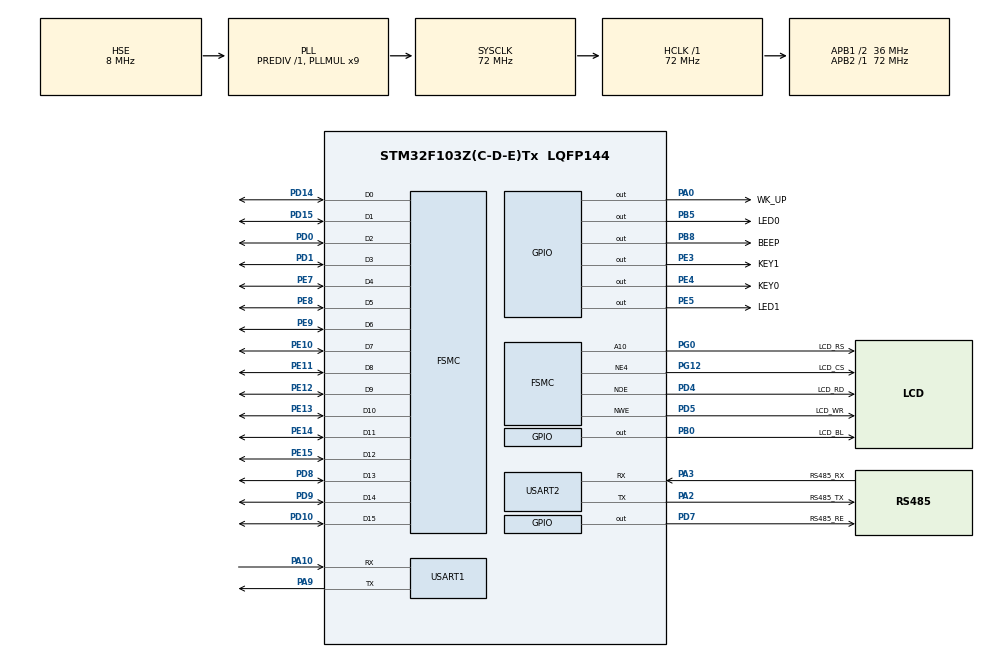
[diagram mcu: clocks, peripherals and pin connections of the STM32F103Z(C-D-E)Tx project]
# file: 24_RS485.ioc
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FSMC.AddressSetupTime1=0
FSMC.BusTurnAroundDuration1=15
FSMC.DataSetupTime1=15
FSMC.ExtendedAddressSetupTime1=0
FSMC.ExtendedDataSetupTime1=1
FSMC.ExtendedMode1=FSMC_EXTENDED_MODE_ENABLE
Mcu.Family=STM32F1
Mcu.Name=STM32F103Z(C-D-E)Tx
Mcu.Package=LQFP144
NVIC.PriorityGroup=NVIC_PRIORITYGROUP_2
NVIC.USART1_IRQn=true\:2\:2\:true\:false\:true\:true\:true\:true
NVIC.USART2_IRQn=true\:2\:1\:true\:false\:true\:true\:true\:true
OSC_IN.Mode=HSE-External-Oscillator
OSC_IN.Signal=RCC_OSC_IN
OSC_OUT.Mode=HSE-External-Oscillator
OSC_OUT.Signal=RCC_OSC_OUT
PA0-WKUP.GPIO_Label=WK_UP
PA0-WKUP.GPIO_PuPd=GPIO_PULLDOWN
PA0-WKUP.GPIO_Speed=GPIO_SPEED_FREQ_HIGH
PA0-WKUP.PinState=GPIO_PIN_RESET
PA0-WKUP.Signal=GPIO_Output
PA10.Mode=Asynchronous
PA10.Signal=USART1_RX
PA13.Mode=Serial_Wire
PA13.Signal=SYS_JTMS-SWDIO
PA14.Mode=Serial_Wire
PA14.Signal=SYS_JTCK-SWCLK
PA2.GPIO_Label=RS485_TX
PA2.Mode=Asynchronous
PA2.Signal=USART2_TX
PA3.GPIO_Label=RS485_RX
PA3.Mode=Asynchronous
PA3.Signal=USART2_RX
PA9.Mode=Asynchronous
PA9.Signal=USART1_TX
PB0.GPIO_Label=LCD_BL
PB0.GPIO_PuPd=GPIO_PULLUP
PB0.GPIO_Speed=GPIO_SPEED_FREQ_HIGH
PB0.PinState=GPIO_PIN_SET
PB0.Signal=GPIO_Output
PB5.GPIO_Label=LED0
PB5.GPIO_PuPd=GPIO_PULLUP
PB5.GPIO_Speed=GPIO_SPEED_FREQ_HIGH
PB5.PinState=GPIO_PIN_SET
PB5.Signal=GPIO_Output
PB8.GPIO_Label=BEEP
PB8.GPIO_ModeDefaultOutputPP=GPIO_MODE_OUTPUT_PP
PB8.GPIO_PuPd=GPIO_PULLDOWN
PB8.GPIO_Speed=GPIO_SPEED_FREQ_HIGH
PB8.PinState=GPIO_PIN_RESET
PB8.Signal=GPIO_Output
PC14-OSC32_IN.Mode=LSE-External-Oscillator
PC14-OSC32_IN.Signal=RCC_OSC32_IN
PC15-OSC32_OUT.Mode=LSE-External-Oscillator
PC15-OSC32_OUT.Signal=RCC_OSC32_OUT
PD0.Signal=FSMC_D2_DA2
PD1.Signal=FSMC_D3_DA3
PD10.Signal=FSMC_D15_DA15
PD14.Signal=FSMC_D0_DA0
PD15.Signal=FSMC_D1_DA1
PD4.GPIO_Label=LCD_RD
PD4.Signal=FSMC_NOE
PD5.GPIO_Label=LCD_WR
PD5.Signal=FSMC_NWE
PD7.GPIO_Label=RS485_RE
PD7.GPIO_PuPd=GPIO_PULLUP
PD7.GPIO_Speed=GPIO_SPEED_FREQ_HIGH
PD7.PinState=GPIO_PIN_SET
PD7.Signal=GPIO_Output
PD8.Signal=FSMC_D13_DA13
PD9.Signal=FSMC_D14_DA14
PE10.Signal=FSMC_D7_DA7
PE11.Signal=FSMC_D8_DA8
PE12.Signal=FSMC_D9_DA9
PE13.Signal=FSMC_D10_DA10
PE14.Signal=FSMC_D11_DA11
PE15.Signal=FSMC_D12_DA12
PE3.GPIO_Label=KEY1
PE3.GPIO_PuPd=GPIO_PULLUP
PE3.GPIO_Speed=GPIO_SPEED_FREQ_HIGH
PE3.PinState=GPIO_PIN_SET
PE3.Signal=GPIO_Output
PE4.GPIO_Label=KEY0
PE4.GPIO_PuPd=GPIO_PULLUP
PE4.GPIO_Speed=GPIO_SPEED_FREQ_HIGH
PE4.PinState=GPIO_PIN_SET
PE4.Signal=GPIO_Output
PE5.GPIO_Label=LED1
PE5.GPIO_PuPd=GPIO_PULLUP
PE5.GPIO_Speed=GPIO_SPEED_FREQ_HIGH
PE5.PinState=GPIO_PIN_SET
PE5.Signal=GPIO_Output
PE7.Signal=FSMC_D4_DA4
PE8.Signal=FSMC_D5_DA5
PE9.Signal=FSMC_D6_DA6
PG0.GPIO_Label=LCD_RS
PG0.Signal=FSMC_A10
PG12.GPIO_Label=LCD_CS
PG12.Mode=NorPsramChipSelect4_1
PG12.Signal=FSMC_NE4
ProjectManager.HeapSize=0x200
ProjectManager.StackSize=0x400
ProjectManager.TargetToolchain=STM32CubeIDE
RCC.AHBFreq_Value=72000000
RCC.APB1CLKDivider=RCC_HCLK_DIV2
RCC.APB1Freq_Value=36000000
RCC.APB1TimFreq_Value=72000000
RCC.APB2Freq_Value=72000000
RCC.APB2TimFreq_Value=72000000
RCC.HCLKFreq_Value=72000000
RCC.PLLMUL=RCC_PLL_MUL9
RCC.PLLSourceVirtual=RCC_PLLSOURCE_HSE
RCC.SYSCLKFreq_VALUE=72000000
RCC.SYSCLKSource=RCC_SYSCLKSOURCE_PLLCLK
RCC.USBFreq_Value=72000000
SH.FSMC_A10.0=FSMC_A10,A10_1
SH.FSMC_D0_DA0.0=FSMC_D0,16b-d1
SH.FSMC_D10_DA10.0=FSMC_D10,16b-d1
SH.FSMC_D11_DA11.0=FSMC_D11,16b-d1
SH.FSMC_D12_DA12.0=FSMC_D12,16b-d1
SH.FSMC_D13_DA13.0=FSMC_D13,16b-d1
SH.FSMC_D14_DA14.0=FSMC_D14,16b-d1
SH.FSMC_D15_DA15.0=FSMC_D15,16b-d1
SH.FSMC_D1_DA1.0=FSMC_D1,16b-d1
SH.FSMC_D2_DA2.0=FSMC_D2,16b-d1
SH.FSMC_D3_DA3.0=FSMC_D3,16b-d1
SH.FSMC_D4_DA4.0=FSMC_D4,16b-d1
SH.FSMC_D5_DA5.0=FSMC_D5,16b-d1
SH.FSMC_D6_DA6.0=FSMC_D6,16b-d1
SH.FSMC_D7_DA7.0=FSMC_D7,16b-d1
SH.FSMC_D8_DA8.0=FSMC_D8,16b-d1
SH.FSMC_D9_DA9.0=FSMC_D9,16b-d1
SH.FSMC_NOE.0=FSMC_NOE,Lcd1
SH.FSMC_NWE.0=FSMC_NWE,Lcd1
USART1.VirtualMode=VM_ASYNC
USART2.VirtualMode=VM_ASYNC
board=custom

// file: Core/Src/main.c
/* USER CODE BEGIN Header */

/* USER CODE END Header */
#include "main.h"
#include "usart.h"
#include "gpio.h"
#include "fsmc.h"

/* USER CODE BEGIN Includes */
#include "../../BSP/LED/led.h"
#include "../../BSP/KEY/key.h"
#include "../../BSP/LCD/lcd.h"
#include "../../BSP/RS485/rs485.h"
#include "../../SYSTEM/delay/delay.h"
/* USER CODE END Includes */

void SystemClock_Config(void);

int main(void)
{
  /* USER CODE BEGIN 1 */
    uint8_t key;
    uint8_t i = 0, t = 0;
    uint8_t cnt = 0;
    uint8_t rs485buf[5];
  /* USER CODE END 1 */

  /* MCU Configuration--------------------------------------------------------*/

  /* Reset of all peripherals, Initializes the Flash interface and the Systick. */
  HAL_Init();

  /* Configure the system clock */
  SystemClock_Config();

  /* USER CODE BEGIN SysInit */
  delay_init(72);						   /* 初始化延时函数 */
  /* USER CODE END SysInit */

  /* Initialize all configured peripherals */
  MX_GPIO_Init();
  MX_FSMC_Init();
  MX_USART1_UART_Init();
  MX_USART2_UART_Init();
  /* USER CODE BEGIN 2 */
  lcd_init();                                         			/* 初始化LCD */
  rs485_init(9600);
  lcd_show_string(30,  50, 200, 16, 16, "STM32", RED);
  lcd_show_string(30,  70, 200, 16, 16, "RS485 TEST", RED);
  lcd_show_string(30,  90, 200, 16, 16, "ATOM@ALIENTEK", RED);
  lcd_show_string(30, 110, 200, 16, 16, "KEY0:Send", RED);    	/* 显示提示信息 */

  lcd_show_string(30, 130, 200, 16, 16, "Count:", RED);       	/* 显示当前计数值 */
  lcd_show_string(30, 150, 200, 16, 16, "Send Data:", RED);   	/* 提示发送的数据 */
  lcd_show_string(30, 190, 200, 16, 16, "Receive Data:", RED);	/* 提示接收到的数据 */

  /* USER CODE END 2 */

  /* Infinite loop */
  /* USER CODE BEGIN WHILE */
  while (1)
  {
	  key = key_scan(0);

	  if (key == KEY0_PRES)   /* KEY0按下,发送一次数据 */
	  {
		  for (i = 0; i < 5; i++)
		  {
			  rs485buf[i] = cnt + i;      /* 填充发送缓冲区 */
			  lcd_show_xnum(30 + i * 32, 170, rs485buf[i], 3, 16, 0X80, BLUE);    /* 显示数据 */
		  }

		  rs485_send_data(rs485buf, 5);   /* 发送5个字节 */
	  }

	  rs485_receive_data(rs485buf, &key);

	  if (key)    /* 接收到有数据 */
	  {
		  if (key > 5)key = 5;    /* 最大是5个数据. */

		  for (i = 0; i < key; i++)
		  {
			  lcd_show_xnum(30 + i * 32, 210, rs485buf[i], 3, 16, 0X80, BLUE);    /* 显示数据 */
		  }
	  }

	  t++;
	  delay_ms(10);

	  if (t == 20)
	  {
		  LED0_TOGGLE();  /* LED0闪烁, 提示系统正在运行 */
		  t = 0;
		  cnt++;
		  lcd_show_xnum(30 + 48, 130, cnt, 3, 16, 0X80, BLUE);    /* 显示数据 */
	  }

    /* USER CODE END WHILE */

  }
}

void SystemClock_Config(void)
{
  RCC_OscInitTypeDef RCC_OscInitStruct = {0};
  RCC_ClkInitTypeDef RCC_ClkInitStruct = {0};

  /** Initializes the RCC Oscillators according to the specified parameters
  * in the RCC_OscInitTypeDef structure.
  */
  RCC_OscInitStruct.OscillatorType = RCC_OSCILLATORTYPE_HSE;
  RCC_OscInitStruct.HSEState = RCC_HSE_ON;
  RCC_OscInitStruct.HSEPredivValue = RCC_HSE_PREDIV_DIV1;
  RCC_OscInitStruct.HSIState = RCC_HSI_ON;
  RCC_OscInitStruct.PLL.PLLState = RCC_PLL_ON;
  RCC_OscInitStruct.PLL.PLLSource = RCC_PLLSOURCE_HSE;
  RCC_OscInitStruct.PLL.PLLMUL = RCC_PLL_MUL9;
  if (HAL_RCC_OscConfig(&RCC_OscInitStruct) != HAL_OK)
  {
    Error_Handler();
  }

  /** Initializes the CPU, AHB and APB buses clocks
  */
  RCC_ClkInitStruct.ClockType = RCC_CLOCKTYPE_HCLK|RCC_CLOCKTYPE_SYSCLK
                              |RCC_CLOCKTYPE_PCLK1|RCC_CLOCKTYPE_PCLK2;
  RCC_ClkInitStruct.SYSCLKSource = RCC_SYSCLKSOURCE_PLLCLK;
  RCC_ClkInitStruct.AHBCLKDivider = RCC_SYSCLK_DIV1;
  RCC_ClkInitStruct.APB1CLKDivider = RCC_HCLK_DIV2;
  RCC_ClkInitStruct.APB2CLKDivider = RCC_HCLK_DIV1;

  if (HAL_RCC_ClockConfig(&RCC_ClkInitStruct, FLASH_LATENCY_2) != HAL_OK)
  {
    Error_Handler();
  }
}

void Error_Handler(void)
{
  __disable_irq();
  while (1)
  {
  }
}
